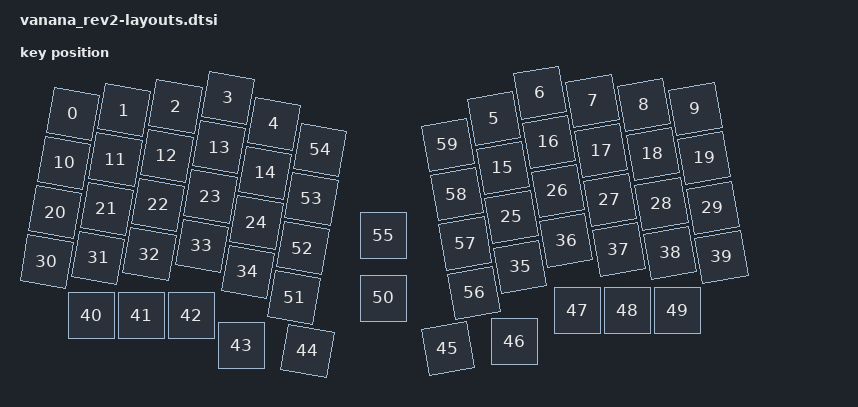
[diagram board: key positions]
#include <physical_layouts.dtsi>

/ {
    physical_layout_vanana_rev2: physical_layout_vanana_rev2 {
        compatible = "zmk,physical-layout";
        display-name = "Vanana";
        keys  //                     w   h    x    y     rot    rx    ry
            = <&key_physical_attrs 100 100  100  100    1000   100     0>
            , <&key_physical_attrs 100 100  200   75    1000   100     0>
            , <&key_physical_attrs 100 100  300   50    1000   100     0>
            , <&key_physical_attrs 100 100  400   15    1000   100     0>
            , <&key_physical_attrs 100 100  500   50    1000   100     0>
            , <&key_physical_attrs 100 100  900  161 (-1000)   700    97>
            , <&key_physical_attrs 100 100 1000  126 (-1000)   700    97>
            , <&key_physical_attrs 100 100 1100  161 (-1000)   700    97>
            , <&key_physical_attrs 100 100 1200  186 (-1000)   700    97>
            , <&key_physical_attrs 100 100 1300  212 (-1000)   700    97>
            , <&key_physical_attrs 100 100  100  200    1000   100     0>
            , <&key_physical_attrs 100 100  200  175    1000   100     0>
            , <&key_physical_attrs 100 100  300  150    1000   100     0>
            , <&key_physical_attrs 100 100  400  115    1000   100     0>
            , <&key_physical_attrs 100 100  500  150    1000   100     0>
            , <&key_physical_attrs 100 100  900  261 (-1000)   700    97>
            , <&key_physical_attrs 100 100 1000  226 (-1000)   700    97>
            , <&key_physical_attrs 100 100 1100  261 (-1000)   700    97>
            , <&key_physical_attrs 100 100 1200  286 (-1000)   700    97>
            , <&key_physical_attrs 100 100 1300  312 (-1000)   700    97>
            , <&key_physical_attrs 100 100  100  300    1000   100     0>
            , <&key_physical_attrs 100 100  200  275    1000   100     0>
            , <&key_physical_attrs 100 100  300  250    1000   100     0>
            , <&key_physical_attrs 100 100  400  215    1000   100     0>
            , <&key_physical_attrs 100 100  500  250    1000   100     0>
            , <&key_physical_attrs 100 100  900  361 (-1000)   700    97>
            , <&key_physical_attrs 100 100 1000  326 (-1000)   700    97>
            , <&key_physical_attrs 100 100 1100  361 (-1000)   700    97>
            , <&key_physical_attrs 100 100 1200  387 (-1000)   700    97>
            , <&key_physical_attrs 100 100 1300  413 (-1000)   700    97>
            , <&key_physical_attrs 100 100  100  400    1000   100     0>
            , <&key_physical_attrs 100 100  200  375    1000   100     0>
            , <&key_physical_attrs 100 100  300  350    1000   100     0>
            , <&key_physical_attrs 100 100  400  315    1000   100     0>
            , <&key_physical_attrs 100 100  500  350    1000   100     0>
            , <&key_physical_attrs 100 100  900  462 (-1000)   700    97>
            , <&key_physical_attrs 100 100 1000  426 (-1000)   700    97>
            , <&key_physical_attrs 100 100 1100  462 (-1000)   700    97>
            , <&key_physical_attrs 100 100 1200  487 (-1000)   700    97>
            , <&key_physical_attrs 100 100 1300  513 (-1000)   700    97>
            , <&key_physical_attrs 100 100  110  510       0     0     0>
            , <&key_physical_attrs 100 100  210  510       0     0     0>
            , <&key_physical_attrs 100 100  310  510       0     0     0>
            , <&key_physical_attrs 100 100  410  570       0     0     0>
            , <&key_physical_attrs 100 100  645  485    1000   100     0>
            , <&key_physical_attrs 100 100  729  598 (-1000)   700    97>
            , <&key_physical_attrs 100 100  956  562       0     0     0>
            , <&key_physical_attrs 100 100 1082  500       0     0     0>
            , <&key_physical_attrs 100 100 1182  500       0     0     0>
            , <&key_physical_attrs 100 100 1282  500       0     0     0>
            , <&key_physical_attrs 100 100  695  475       0     0     0>
            , <&key_physical_attrs 100 100  600  385    1000   100     0>
            , <&key_physical_attrs 100 100  600  285    1000   100     0>
            , <&key_physical_attrs 100 100  600  185    1000   100     0>
            , <&key_physical_attrs 100 100  600   85    1000   100     0>
            , <&key_physical_attrs 100 100  695  350       0     0     0>
            , <&key_physical_attrs 100 100  800  497 (-1000)   700    97>
            , <&key_physical_attrs 100 100  800  397 (-1000)   700    97>
            , <&key_physical_attrs 100 100  800  297 (-1000)   700    97>
            , <&key_physical_attrs 100 100  800  197 (-1000)   700    97>
            ;
    };
};
